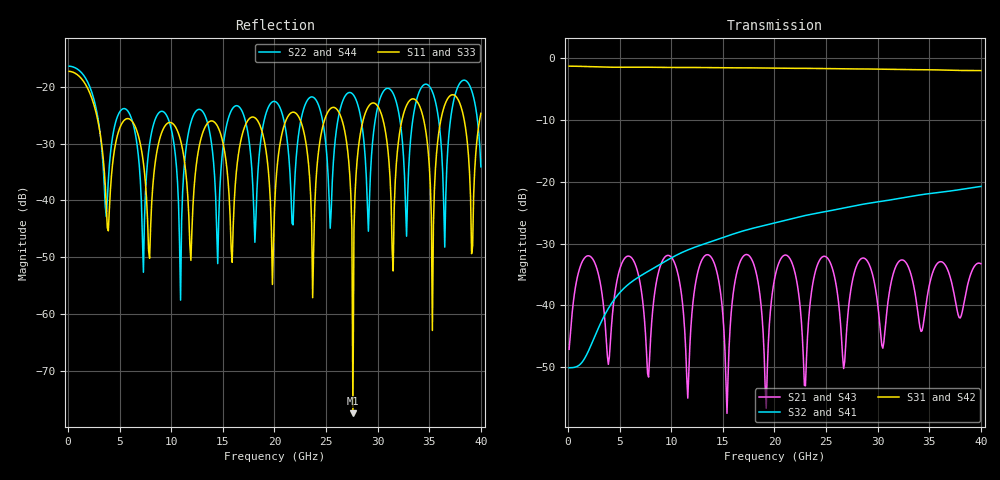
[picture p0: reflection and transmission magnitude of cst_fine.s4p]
! T_ts6_broadside_o0: Broadside: In2 over In3 across the 0.93 mm core, lateral offset 0 mm, 20 mm
! stackup: ThunderScope Rev5.3 6-layer (FR408HR / FR-4, from the board file)
! ports: 1 near A, 2 near B, 3 far A, 4 far B
! CST Studio Suite 2025.5 Release from 2025-05-30, time domain (FIT, hexahedral, PBA), 388416 mesh cells, 91 s
! mesh: {'lpw': 30.0, 'lpb': 30.0, 'minstep': 0.0, 'ratio': 20}; ports: port 1 (face); port 2 (face); port 3 (face); port 4 (face)
! interpolated from CST's 1001 samples to the case grid
# Hz S RI R 50
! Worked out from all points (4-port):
!   400 points, 100 MHz to 40 GHz, reference 50 ohm
!   strongest paths, dB at 100 MHz, 10.1 GHz, 20.1 GHz, 30.1 GHz, 40 GHz:
!     S31: -1.3, -1.5, -1.6, -1.8, -2.0
!     S42: -1.4, -1.5, -1.7, -1.9, -2.2
!     S32: -50.1, -32.2, -26.6, -23.2, -20.8
!     S41: -50.1, -32.2, -26.6, -23.2, -20.8
!     S21: -47.1, -32.4, -35.0, -41.3, -33.3
!     S43: -47.1, -32.4, -35.0, -41.3, -33.3
!   lowest |S11| = -77.4 dB at 27.6 GHz (marker M1), VSWR 1.00, Z = 50 + j0.00198 ohm
!   |S11| at or under -10 dB: start of sweep to end of sweep
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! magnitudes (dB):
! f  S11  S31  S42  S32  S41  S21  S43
! 100 MHz  -17.3  -1.3  -1.4  -50.1  -50.1  -47.1  -47.1
! 10.9 GHz  -29.5  -1.5  -1.5  -31.6  -31.6  -37.2  -37.2
! 26.1 GHz  -24.1  -1.7  -1.8  -24.5  -24.5  -38.1  -38.1
! 27.6 GHz  -77.4  -1.8  -1.8  -24.0  -24.0  -35.6  -35.6
! 28.9 GHz  -24.2  -1.8  -1.9  -23.6  -23.6  -32.6  -32.6
! 35.3 GHz  -62.8  -1.9  -2.0  -21.9  -21.9  -34.8  -34.8
! 40 GHz  -24.7  -2.0  -2.2  -20.8  -20.8  -33.3  -33.3
